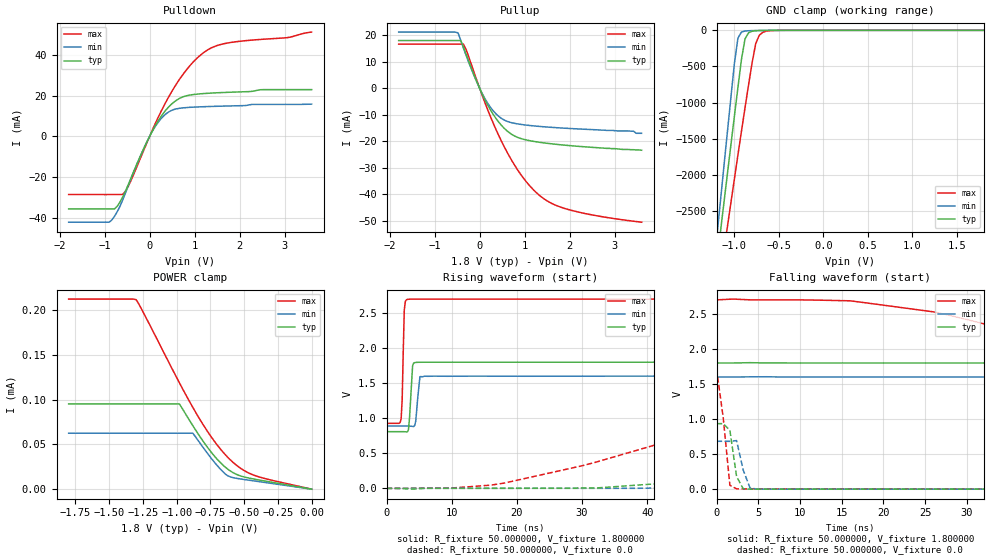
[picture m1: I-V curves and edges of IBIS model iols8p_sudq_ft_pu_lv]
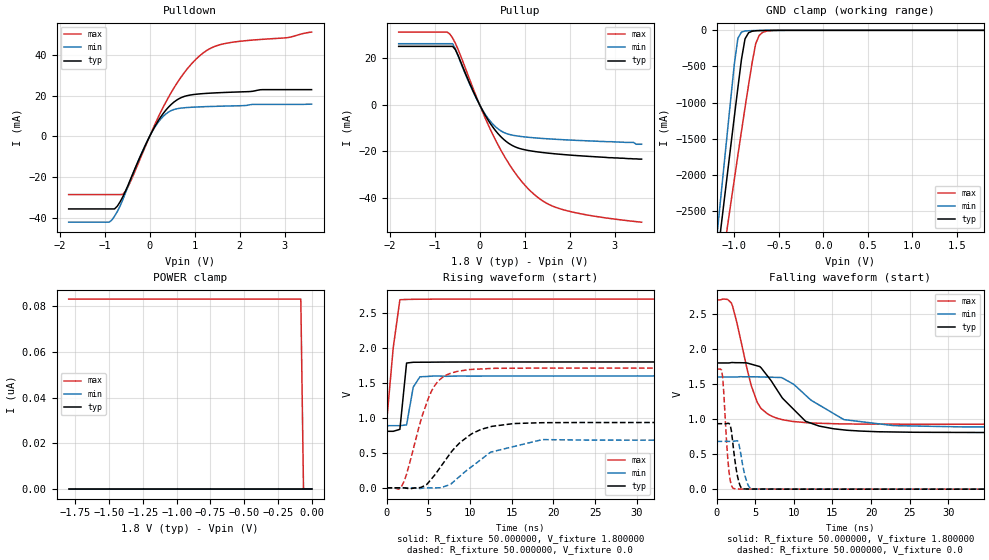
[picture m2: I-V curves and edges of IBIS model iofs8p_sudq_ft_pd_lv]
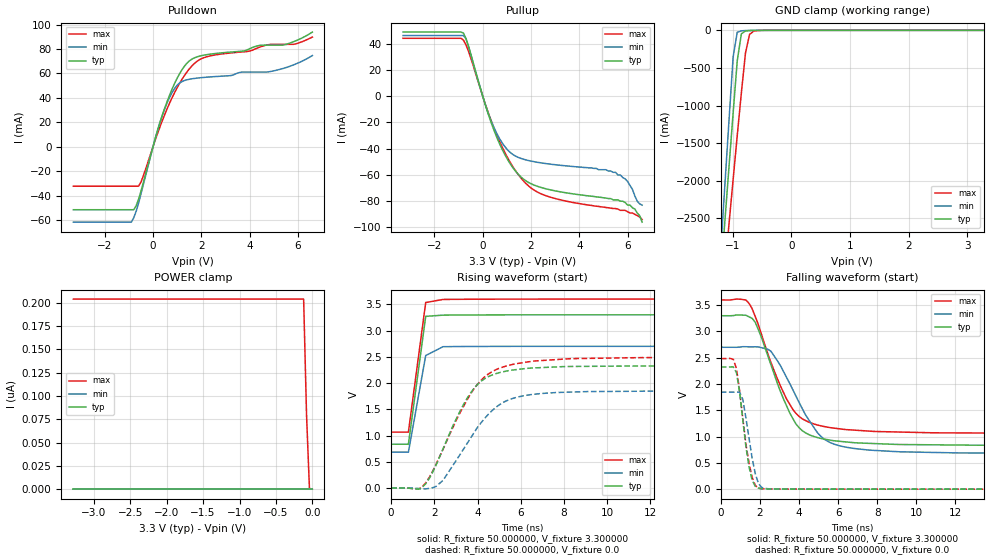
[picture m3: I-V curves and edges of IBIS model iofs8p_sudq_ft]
|   IBIS file stm32l412_422_ufqfpn32.ibs
[IBIS ver]   4.2
[File name]   stm32l412_422_ufqfpn32.ibs
[File Rev]   1.0
[Date]   08-10-2018
[Source]   Data Created at STMicroelectronics
[Notes]   File originated from ELDO simulations.
[Disclaimer]  This information is for modeling purpose only and is
   not guaranteed.
   The information is subject to change without notice.
[Copyright]   Copyright 2018 STMicroelectronics Inc.
|   Component stm32l412_422_ufqfpn32
[Component] stm32l412_422_ufqfpn32
[Manufacturer] STMicroelectronics
[Package]
| variable   typ   min   max
R_pkg   0   0   0
L_pkg   0   0   0
C_pkg   0   0   0
[Pin]   signal_name   model_name   R_pin   L_pin   C_pin
1 VDD POWER
2 PC14-OSC32_IN io8prog2m25m50m120m_sudq_ft
3 PC15-OSC32_OUT io8prog2m25m50m120m_sudq_ft
4 NRST ioreset_ft_v33
5 VDDA/VREF+ POWER
6 PA0-CK_IN io8prog2m25m50m120m_sudq_ft
7 PA1 io8prog2m25m50m120m_sudq_ft
8 PA2 io8prog2m25m50m120m_sudq_ft
9 PA3 io8prog2m25m50m120m_sudq_ft
10 PA4 io8prog2m25m50m120m_sudq_ft
11 PA5 io8prog2m25m50m120m_sudq_ft
12 PA6 io8prog2m25m50m120m_sudq_ft
13 PA7 io8prog2m25m50m120m_sudq_i2c_ft
14 PB0 io8prog2m25m50m120m_sudq_ft
15 PB1 io8prog2m25m50m120m_sudq_ft
16 VSS GND
17 VDD POWER
18 PA8 isudqf_ft_v33
19 PA9 io8prog2m25m50m120m_sudq_i2c_ft
20 PA10 io8prog2m25m50m120m_sudq_i2c_ft
21 PA11 io8usblsfs_otg2
22 PA12 io8usblsfs_otg2
23 PA13 io8prog2m25m50m120m_sudq_ft
24 PA14 io8prog2m25m50m120m_sudq_ft
25 PA15 io8prog2m25m50m120m_sudq_ft
26 PB3 io8prog2m25m50m120m_sudq_ft
27 PB4 io8prog2m25m50m120m_sudq_i2c_ft
28 PB5 io8prog2m25m50m120m_sudq_ft
29 PB6 io8prog2m25m50m120m_sudq_i2c_ft
30 PB7 io8prog2m25m50m120m_sudq_i2c_ft
31 PH3-BOOT0 io8prog2m25m50m120m_sudq_ft
32 VSS GND
[Model Selector] io8prog2m25m50m120m_sudq_ft
iols8p_sudq_ft_pd_lv  "IO low speed, PD=40kOhm - 1P8V"
iols8p_sudq_ft_pu_lv  "IO low speed, PU=40kOhm - 1P8V"
iols8p_sudq_ft_lv  "IO low speed - 1P8V"
iols8p_sudq_ft_pd  "IO low speed, PD=40kOhm - 3P3V"
iols8p_sudq_ft_pu  "IO low speed, PU=40kOhm - 3P3V"
iols8p_sudq_ft  "IO low speed - 3P3V"
iofs8p_sudq_ft_pd_lv  "IO full speed, PD=40kOhm - 1P8V"
iofs8p_sudq_ft_pu_lv  "IO full speed, PU=40kOhm - 1P8V"
iofs8p_sudq_ft_lv  "IO full speed - 1P8V"
iofs8p_sudq_ft_pd  "IO full speed, PD=40kOhm - 3P3V"
iofs8p_sudq_ft_pu  "IO full speed, PU=40kOhm - 3P3V"
iofs8p_sudq_ft  "IO full speed - 3P3V"
ioms8p_sudq_ft_pd_lv  "IO medium speed, PD=40kOhm - 1P8V"
ioms8p_sudq_ft_pu_lv  "IO medium speed, PU=40kOhm - 1P8V"
ioms8p_sudq_ft_lv  "IO medium speed - 1P8V"
ioms8p_sudq_ft_pd  "IO medium speed, PD=40kOhm - 3P3V"
ioms8p_sudq_ft_pu  "IO medium speed, PU=40kOhm - 3P3V"
ioms8p_sudq_ft  "IO medium speed - 3P3V"
iohs8p_sudq_ft_pd_lv  "IO high speed, PD=40kOhm - 1P8V"
iohs8p_sudq_ft_pu_lv  "IO high speed, PU=40kOhm - 1P8V"
iohs8p_sudq_ft_lv  "IO high speed - 1P8V"
iohs8p_sudq_ft_pd  "IO high speed, PD=40kOhm - 3P3V"
iohs8p_sudq_ft_pu  "IO high speed, PU=40kOhm - 3P3V"
iohs8p_sudq_ft  "IO high speed - 3P3V"
[Model Selector] io8prog2m25m50m120m_sudq_i2c_ft
io8prog_1v8_i2c_pd  "5V Tol GPIO 1.8V range i2c functionality with pull down"
io8prog_1v8_i2c_pu  "5V Tol GPIO 1.8V range i2c functionality with pull up"
io8prog_1v8_i2c  "5V Tol GPIO 1.8V range i2c functionality"
io8prog_3v3_i2c_pd  "5V Tol GPIO 3.3V range i2c functionality with pull down"
io8prog_3v3_i2c_pu  "5V Tol GPIO 3.3V range i2c functionality with pull up"
io8prog_3v3_i2c  "5V Tol GPIO 3.3V range i2c functionality"
io8ls_1v8_pd  "5V Tol GPIO 1.8V range with pd io low speed"
io8ls_1v8_pu  "5V Tol GPIO 1.8V range with pu io low speed"
io8ls_1v8  "5V Tol GPIO 1.8V range io low speed"
io8ls_3v3_pd  "5V Tol GPIO 3.3V range with pd io low speed"
io8ls_3v3_pu  "5V Tol GPIO 3.3V range with pu io low speed"
io8ls_3v3  "5V Tol GPIO 3.3V range io low speed"
io8fs_1v8_pd  "5V Tol GPIO 1.8V range with pd io full speed"
io8fs_1v8_pu  "5V Tol GPIO 1.8V range with pu io full speed"
io8fs_1v8  "5V Tol GPIO 1.8V range io full speed"
io8fs_3v3_pd  "5V Tol GPIO 3.3V range with pd io full speed"
io8fs_3v3_pu  "5V Tol GPIO 3.3V range with pu io full speed"
io8fs_3v3  "5V Tol GPIO 3.3V range io full speed"
io8ms_1v8_pd  "5V Tol GPIO 1.8V range with pd io medium speed"
io8ms_1v8_pu  "5V Tol GPIO 1.8V range with pu io medium speed"
io8ms_1v8  "5V Tol GPIO 1.8V range io medium speed"
io8ms_3v3_pd  "5V Tol GPIO 3.3V range with pd io medium speed"
io8ms_3v3_pu  "5V Tol GPIO 3.3V range with pu io medium speed"
io8ms_3v3  "5V Tol GPIO 3.3V range io medium speed"
io8hs_1v8_pd  "5V Tol GPIO 1.8V range with pd io high speed"
io8hs_1v8_pu  "5V Tol GPIO 1.8V range with pu io high speed"
io8hs_1v8  "5V Tol GPIO 1.8V range io high speed"
io8hs_3v3_pd  "5V Tol GPIO 3.3V range with pd io high speed"
io8hs_3v3_pu  "5V Tol GPIO 3.3V range with pu io high speed"
io8hs_3v3  "5V Tol GPIO 3.3V range io high speed"
[Model Selector] io8usblsfs_otg2
usb_ls_pd  "USB Low Speed mode - Pull Down"
usb_ls_pu2  "USB Low Speed mode - Pull up 2"
usb_ls_pu  "USB Low Speed mode - Pull up"
usb_fs  "USB Low Speed mode"
usb_fs_pd  "USB Full Speed mode - Pull Down"
usb_fs_pu2  "USB Full Speed mode - Pull up 2"
usb_fs_pu  "USB Full Speed mode - Pull up"
[Model Selector] ioreset_ft_v33
ioreset_1v2_pu  "RESET 1.2V range with PU"
ioreset_1v2  "RESET 1.2V range"
ioreset_1v8_pu  "RESET 1.8V range with PU"
ioreset_1v8  "RESET 1.8V range"
ioreset_3v3_pu  "RESET 3.3V range with PU"
ioreset_3v3  "RESET 3.3V range"
[Model Selector] isudqf_ft_v33
in_ft_v33_pd  "GP Input. 5V tolerant. 3.3V range with pull down"
in_ft_v33_pu  "GP Input. 5V tolerant. 3.3V range with pull up"
in_ft_v33  "GP Input. 5V tolerant. 3.3V range"
| Models and submodels in the file (70): iols8p_sudq_ft_pd_lv (I/O), iols8p_sudq_ft_pu_lv (I/O), iols8p_sudq_ft_lv (I/O), iols8p_sudq_ft_pd (I/O), iols8p_sudq_ft_pu (I/O), iols8p_sudq_ft (I/O), iofs8p_sudq_ft_pd_lv (I/O), iofs8p_sudq_ft_pu_lv (I/O), iofs8p_sudq_ft_lv (I/O), iofs8p_sudq_ft_pd (I/O), iofs8p_sudq_ft_pu (I/O), iofs8p_sudq_ft (I/O), ioms8p_sudq_ft_pd_lv (I/O), ioms8p_sudq_ft_pu_lv (I/O), ioms8p_sudq_ft_lv (I/O), ioms8p_sudq_ft_pd (I/O), ioms8p_sudq_ft_pu (I/O), ioms8p_sudq_ft (I/O), iohs8p_sudq_ft_pd_lv (I/O), iohs8p_sudq_ft_pu_lv (I/O), iohs8p_sudq_ft_lv (I/O), iohs8p_sudq_ft_pd (I/O), iohs8p_sudq_ft_pu (I/O), iohs8p_sudq_ft (I/O), io8prog_1v8_i2c_pd (I/O), io8prog_1v8_i2c_pu (I/O), io8prog_1v8_i2c (I/O), io8prog_3v3_i2c_pd (I/O), io8prog_3v3_i2c_pu (I/O), io8prog_3v3_i2c (I/O), io8ls_1v8_pd (I/O), io8ls_1v8_pu (I/O), io8ls_1v8 (I/O), io8ls_3v3_pd (I/O), io8ls_3v3_pu (I/O), io8ls_3v3 (I/O), io8fs_1v8_pd (I/O), io8fs_1v8_pu (I/O), io8fs_1v8 (I/O), io8fs_3v3_pd (I/O), io8fs_3v3_pu (I/O), io8fs_3v3 (I/O), io8ms_1v8_pd (I/O), io8ms_1v8_pu (I/O), io8ms_1v8 (I/O), io8ms_3v3_pd (I/O), io8ms_3v3_pu (I/O), io8ms_3v3 (I/O), io8hs_1v8_pd (I/O), io8hs_1v8_pu (I/O), io8hs_1v8 (I/O), io8hs_3v3_pd (I/O), io8hs_3v3_pu (I/O), io8hs_3v3 (I/O), usb_ls_pd (I/O), usb_ls_pu2 (I/O), usb_ls_pu (I/O), usb_fs (I/O), usb_fs_pd (I/O), usb_fs_pu2 (I/O), usb_fs_pu (I/O), ioreset_1v2_pu (I/O_open_drain), ioreset_1v2 (I/O_open_drain), ioreset_1v8_pu (I/O_open_drain), ioreset_1v8 (I/O_open_drain), ioreset_3v3_pu (I/O_open_drain), ioreset_3v3 (I/O_open_drain), in_ft_v33_pd (Input), in_ft_v33_pu (Input), in_ft_v33 (Input)
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|   Model iols8p_sudq_ft_pu_lv
[Model]  iols8p_sudq_ft_pu_lv
Model_type I/O
Polarity   Non-Inverting
Enable   Active-Low
Vinl =   0.540000V
Vinh =   1.260000V
Vmeas =  0.900000V
Cref =   50.000000pF
Rref =   100.000000M
Vref =   0.0V
C_comp   1.984800pF   1.899400pF   2.077500pF
[Temperature Range]   25.000000   -40.000000   0.125000k
[Pullup Reference]   1.800000V   1.600000V   2.700000V
[Pulldown Reference]   0.0V   0.0V   0.0V
[POWER Clamp Reference]   1.800000V   1.600000V   2.700000V
[GND Clamp Reference]   0.0V   0.0V   0.0V
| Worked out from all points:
|   slope of the pulldown table from 0 to 0.27 V, typ, clamps not added: 26.4 ohm
|   slope of the pullup table from 0 to 0.27 V, typ, clamps not added: 30.1 ohm
|   GND clamp passes 1 mA (typ) near -0.61 V on its own axis
|   rising waveform, R_fixture 50.000000, V_fixture 1.800000: 20-80 % time 379ps typ, 423ps min, 265ps max; typ from 0.81 V to 1.8 V
|   rising waveform, R_fixture 50.000000, V_fixture 0.0: 20-80 % time 68.6ns typ, 74.3ns min, 45.2ns max; typ from 0.001 V to 0.935 V
|   falling waveform, R_fixture 50.000000, V_fixture 1.800000: 20-80 % time 72.7ns typ, 95.3ns min, 37.6ns max; typ from 1.8 V to 0.81 V
|   falling waveform, R_fixture 50.000000, V_fixture 0.0: 20-80 % time 683ps typ, 950ps min, 966ps max; typ from 0.935 V to 0.001 V
[Pulldown]
|Voltage   I(typ)   I(min)   I(max)
-1.8V     -35.64mA   -42.15mA   -28.59mA
-900mV    -35.64mA   -42.15mA   -28.59mA
-780mV    -35.64mA   -39.2mA    -28.59mA
-600mV    -29.83mA   -31.3mA    -28.52mA
-420mV    -20.8mA    -21.07mA   -21.98mA
60mV      2.604mA    2.459mA    3.062mA
240mV     9.303mA    8.31mA     11.61mA
480mV     15.67mA    12.64mA    21.52mA
720mV     19.18mA    13.9mA     29.74mA
960mV     20.46mA    14.3mA     36.27mA
1.44V     21.29mA    14.7mA     44.06mA
3.6V      22.91mA    15.79mA    51.15mA
[Pullup]
|Voltage   I(typ)   I(min)   I(max)
-1.8V     18.05mA    21.25mA    16.71mA
-540mV    18.05mA    21.25mA    16.71mA
-480mV    18.05mA    20.96mA    16.71mA
-420mV    18.05mA    18.11mA    16.71mA
-360mV    15.57mA    15.21mA    16.71mA
60mV      -2.268mA   -2.095mA   -2.822mA
360mV     -11.31mA   -9.605mA   -15.45mA
600mV     -15.96mA   -12.42mA   -23.82mA
840mV     -18.52mA   -13.44mA   -30.72mA
1.38V     -20.52mA   -14.48mA   -41.14mA
2.1V      -21.8mA    -15.27mA   -46.39mA
3.6V      -23.4mA    -17mA      -50.6mA
[GND_clamp]
|Voltage   I(typ)   I(min)   I(max)
-1.8V     -9.477A    -9.805A    -9.016A
-1.2V     -3.243A    -2.9A      -3.759A
-1.16V    -2.83A     -2.409A    -3.417A
-1.12V    -2.418A    -1.919A    -3.076A
-1.08V    -2.008A    -1.431A    -2.736A
-1V       -1.194A    -466mA     -2.061A
-960mV    -792.8mA   -108.7mA   -1.727A
-920mV    -402mA     -24.35mA   -1.396A
-880mV    -117.8mA   -9.188mA   -1.071A
-760mV    -5.896mA   -2.88mA    -183.8mA
-680mV    -2.395mA   -1.099mA   -26.61mA
1.8V      0A         0A         0A
[POWER_clamp]
|Voltage   I(typ)   I(min)   I(max)
-1.8V     95.27uA    62.52uA    212.4uA
-1.3V     95.27uA    62.52uA    211.7uA
-1.24V    95.27uA    62.52uA    195.4uA
-980mV    95.27uA    62.52uA    119uA
-880mV    70.93uA    62.52uA    91.35uA
-740mV    40.61uA    33.79uA    57.65uA
-640mV    24.64uA    16.99uA    38.63uA
-600mV    20.11uA    13.6uA     32.43uA
-540mV    15.51uA    11.72uA    24.8uA
-440mV    11.66uA    9.491uA    16.35uA
-340mV    8.934uA    7.326uA    11.65uA
0V        0A         0A         0A
[Ramp]
| variable   typ   min   max
dV/dt_r  0.56095/68.67975n   0.40953/74.27229n   1.02717/44.98407n
dV/dt_f  0.59405/72.60739n   0.42589/95.26095n   1.06315/37.53994n
R_load = 50.000000
[Rising Waveform]
R_fixture= 50.000000
V_fixture= 1.800000
V_fixture_min= 1.600000
V_fixture_max= 2.700000
|time   V(typ)   V(min)   V(max)
0s        809.8mV    890.3mV    928.1mV
2.242ns   809.8mV    890.3mV    993.3mV
2.402ns   809.8mV    890.3mV    1.271V
2.723ns   809mV      890.3mV    2.541V
3.203ns   807.2mV    890.4mV    2.695V
4.004ns   1.748V     884.3mV    2.699V
4.484ns   1.796V     960.8mV    2.699V
5.125ns   1.799V     1.593V     2.7V
5.766ns   1.8V       1.6V       2.7V
79.76ns   1.8V       1.6V       2.7V
[Rising Waveform]
R_fixture= 50.000000
V_fixture= 0.0
V_fixture_min= 0.0
V_fixture_max= 0.0
|time   V(typ)   V(min)   V(max)
0s        727.8uV    547uV      1.255mV
18.02ns   2.02mV     1.674mV    75.77mV
32.03ns   6.18mV     1.697mV    372.5mV
62.06ns   209.3mV    74.21mV    1.129V
80.08ns   398.5mV    158mV      1.429V
104.1ns   610.5mV    330.5mV    1.601V
126.1ns   738.8mV    448.3mV    1.661V
174.2ns   885.5mV    630.8mV    1.704V
248.2ns   930.2mV    683.3mV    1.714V
997ns     935.3mV    683.1mV    1.714V
[Falling Waveform]
R_fixture= 50.000000
V_fixture= 1.800000
V_fixture_min= 1.600000
V_fixture_max= 2.700000
|time   V(typ)   V(min)   V(max)
0s        1.8V       1.6V       2.7V
16.02ns   1.8V       1.6V       2.687V
26.03ns   1.8V       1.6V       2.529V
64.06ns   1.737V     1.6V       1.391V
76.08ns   1.647V     1.6V       1.186V
120.1ns   1.255V     1.504V     992.1mV
160.2ns   977.5mV    1.286V     953.6mV
200.2ns   882.5mV    1.065V     936.8mV
314.3ns   819.5mV    908.5mV    928.2mV
997ns     809.8mV    890.3mV    928.1mV
[Falling Waveform]
R_fixture= 50.000000
V_fixture= 0.0
V_fixture_min= 0.0
V_fixture_max= 0.0
|time   V(typ)   V(min)   V(max)
0s        935.3mV    683.1mV    1.714V
800.8ps   935.3mV    683.1mV    1.021V
1.602ns   838.7mV    682.5mV    55.24mV
2.402ns   181.5mV    693.4mV    5.324mV
3.203ns   4.882mV    272.1mV    4.519mV
4.004ns   1.823mV    19.9mV     4.432mV
4.805ns   1.435mV    1.988mV    4.408mV
79.28ns   727.8uV    547uV      1.255mV
|   Model iofs8p_sudq_ft_pd_lv
[Model]  iofs8p_sudq_ft_pd_lv
Model_type I/O
Polarity   Non-Inverting
Enable   Active-Low
Vinl =   0.540000V
Vinh =   1.260000V
Vmeas =  0.900000V
Cref =   40.000000pF
Rref =   100.000000M
Vref =   0.0V
C_comp   1.984800pF   1.899400pF   2.077500pF
[Temperature Range]   25.000000   -40.000000   0.125000k
[Pullup Reference]   1.800000V   1.600000V   2.700000V
[Pulldown Reference]   0.0V   0.0V   0.0V
[POWER Clamp Reference]   1.800000V   1.600000V   2.700000V
[GND Clamp Reference]   0.0V   0.0V   0.0V
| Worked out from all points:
|   slope of the pulldown table from 0 to 0.27 V, typ, clamps not added: 26.4 ohm
|   slope of the pullup table from 0 to 0.27 V, typ, clamps not added: 30.1 ohm
|   GND clamp passes 1 mA (typ) near -0.60 V on its own axis
|   rising waveform, R_fixture 50.000000, V_fixture 1.800000: 20-80 % time 503ps typ, 698ps min, 936ps max; typ from 0.808 V to 1.8 V
|   rising waveform, R_fixture 50.000000, V_fixture 0.0: 20-80 % time 4.11ns typ, 5.19ns min, 2.6ns max; typ from 0 V to 0.933 V
|   falling waveform, R_fixture 50.000000, V_fixture 1.800000: 20-80 % time 4.49ns typ, 5.51ns min, 2.44ns max; typ from 1.8 V to 0.808 V
|   falling waveform, R_fixture 50.000000, V_fixture 0.0: 20-80 % time 694ps typ, 759ps min, 595ps max; typ from 0.933 V to 0 V
[Pulldown]
|Voltage   I(typ)   I(min)   I(max)
-1.8V     -35.64mA   -42.15mA   -28.59mA
-900mV    -35.64mA   -42.15mA   -28.59mA
-780mV    -35.64mA   -39.2mA    -28.59mA
-600mV    -29.83mA   -31.31mA   -28.52mA
-420mV    -20.8mA    -21.07mA   -21.98mA
60mV      2.604mA    2.459mA    3.062mA
240mV     9.303mA    8.31mA     11.61mA
480mV     15.67mA    12.64mA    21.52mA
720mV     19.18mA    13.91mA    29.74mA
960mV     20.46mA    14.3mA     36.27mA
1.44V     21.29mA    14.7mA     44.06mA
3.6V      22.91mA    15.79mA    51.15mA
[Pullup]
|Voltage   I(typ)   I(min)   I(max)
-1.8V     25.2mA     26.34mA    31.36mA
-660mV    25.2mA     26.34mA    30.46mA
-600mV    25.2mA     26.34mA    28.77mA
-540mV    23.79mA    24.11mA    26.53mA
-60mV     2.392mA    2.26mA     2.893mA
300mV     -9.801mA   -8.48mA    -13.12mA
480mV     -13.91mA   -11.33mA   -19.82mA
720mV     -17.48mA   -13.04mA   -27.45mA
1.26V     -20.22mA   -14.3mA    -39.41mA
1.56V     -20.91mA   -14.71mA   -43.13mA
1.98V     -21.62mA   -15.16mA   -45.85mA
3.6V      -23.4mA    -17mA      -50.6mA
[GND_clamp]
|Voltage   I(typ)   I(min)   I(max)
-1.8V     -9.477A    -9.805A    -9.016A
-1.2V     -3.243A    -2.9A      -3.759A
-1.16V    -2.83A     -2.409A    -3.417A
-1.12V    -2.418A    -1.919A    -3.076A
-1.08V    -2.008A    -1.431A    -2.736A
-1V       -1.194A    -466mA     -2.061A
-960mV    -792.8mA   -108.7mA   -1.727A
-920mV    -402mA     -24.36mA   -1.396A
-880mV    -117.8mA   -9.2mA     -1.071A
-760mV    -5.909mA   -2.892mA   -183.8mA
-680mV    -2.407mA   -1.111mA   -26.63mA
1.8V      47.61uA    33.87uA    60.56uA
[POWER_clamp]
|Voltage   I(typ)   I(min)   I(max)
-1.8V     0A         0A         83.17nA
-80mV     0A         0A         83.17nA
-60mV     0A         0A         0A
0V        0A         0A         0A
[Ramp]
| variable   typ   min   max
dV/dt_r  0.56000/4.10362n   0.40942/5.21625n   1.02672/2.59589n
dV/dt_f  0.59504/4.48853n   0.42591/5.49286n   1.06363/2.43827n
R_load = 50.000000
[Rising Waveform]
R_fixture= 50.000000
V_fixture= 1.800000
V_fixture_min= 1.600000
V_fixture_max= 2.700000
|time   V(typ)   V(min)   V(max)
0s        807.9mV    888.7mV    926.4mV
800.8ps   807.7mV    888.7mV    2V
1.602ns   836.3mV    888.7mV    2.689V
2.402ns   1.784V     899.7mV    2.693V
3.203ns   1.795V     1.44V      2.695V
4.004ns   1.796V     1.587V     2.696V
5.606ns   1.797V     1.598V     2.697V
79.28ns   1.799V     1.599V     2.699V
[Rising Waveform]
R_fixture= 50.000000
V_fixture= 0.0
V_fixture_min= 0.0
V_fixture_max= 0.0
|time   V(typ)   V(min)   V(max)
0s        959.1nV    708.8nV    1.579uV
1.441ns   16.7uV     -615.4nV   -19.31mV
2.082ns   -221.7uV   116.1nV    88.07mV
4.324ns   17.15mV    -4.67mV    1.047V
5.766ns   180.7mV    -547uV     1.459V
6.887ns   367.1mV    16.93mV    1.592V
8.649ns   628.2mV    150.9mV    1.668V
12.49ns   874.2mV    510.3mV    1.706V
18.74ns   931.2mV    689.4mV    1.712V
79.76ns   933.5mV    681.5mV    1.711V
[Falling Waveform]
R_fixture= 50.000000
V_fixture= 1.800000
V_fixture_min= 1.600000
V_fixture_max= 2.700000
|time   V(typ)   V(min)   V(max)
0s        1.799V     1.599V     2.699V
1.922ns   1.805V     1.599V     2.655V
4.484ns   1.782V     1.602V     1.48V
5.285ns   1.757V     1.601V     1.235V
8.809ns   1.267V     1.568V     984.4mV
11.53ns   967.4mV    1.339V     948.9mV
13.29ns   899.2mV    1.2V       939.8mV
16.5ns    844.5mV    991.4mV    929.4mV
22.9ns    815.3mV    906.3mV    926.9mV
79.76ns   807.9mV    888.7mV    926.4mV
[Falling Waveform]
R_fixture= 50.000000
V_fixture= 0.0
V_fixture_min= 0.0
V_fixture_max= 0.0
|time   V(typ)   V(min)   V(max)
0s        933.5mV    681.5mV    1.711V
800.8ps   933.4mV    681.5mV    1.595V
1.602ns   937.9mV    681.4mV    260.3mV
1.922ns   833.4mV    681.1mV    51.84mV
2.402ns   393.2mV    686.5mV    4.86mV
2.883ns   106.8mV    648mV      2.297mV
3.203ns   18.04mV    463.2mV    1.884mV
4.004ns   2.003mV    80.11mV    1.241mV
4.645ns   1.405mV    3.507mV    933.5uV
79.76ns   959.1nV    708.8nV    1.579uV
|   Model iofs8p_sudq_ft
[Model]  iofs8p_sudq_ft
Model_type I/O
Polarity   Non-Inverting
Enable   Active-Low
Vinl =   0.990000V
Vinh =   2.310000V
Vmeas =  1.650000V
Cref =   30.000000pF
Rref =   100.000000M
Vref =   0.0V
C_comp   2.036400pF   1.984000pF   2.082300pF
[Temperature Range]   25.000000   -40.000000   0.125000k
[Pullup Reference]   3.300000V   2.700000V   3.600000V
[Pulldown Reference]   0.0V   0.0V   0.0V
[POWER Clamp Reference]   3.300000V   2.700000V   3.600000V
[GND Clamp Reference]   0.0V   0.0V   0.0V
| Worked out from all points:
|   slope of the pulldown table from 0 to 0.495 V, typ, clamps not added: 15.4 ohm
|   slope of the pullup table from 0 to 0.495 V, typ, clamps not added: 18.1 ohm
|   GND clamp passes 1 mA (typ) near -0.60 V on its own axis
|   rising waveform, R_fixture 50.000000, V_fixture 3.300000: 20-80 % time 486ps typ, 526ps min, 494ps max; typ from 0.835 V to 3.3 V
|   rising waveform, R_fixture 50.000000, V_fixture 0.0: 20-80 % time 1.66ns typ, 1.92ns min, 1.89ns max; typ from 0 V to 2.33 V
|   falling waveform, R_fixture 50.000000, V_fixture 3.300000: 20-80 % time 1.55ns typ, 1.8ns min, 1.64ns max; typ from 3.3 V to 0.835 V
|   falling waveform, R_fixture 50.000000, V_fixture 0.0: 20-80 % time 470ps typ, 494ps min, 523ps max; typ from 2.33 V to 0 V
[Pulldown]
|Voltage   I(typ)   I(min)   I(max)
-3.3V     -51.63mA   -61.84mA   -32.32mA
-900mV    -51.63mA   -61.84mA   -32.32mA
-800mV    -51.63mA   -58.24mA   -32.32mA
-500mV    -36.51mA   -38.71mA   -28.96mA
400mV     26.66mA    26.58mA    22.18mA
800mV     47.72mA    44.74mA    40.6mA
1.1V      59.79mA    52.18mA    51.93mA
1.5V      70.22mA    55.24mA    63.66mA
2.1V      74.97mA    56.75mA    72.88mA
4.9V      83.19mA    61.75mA    83.83mA
5.9V      86.64mA    67.67mA    84.15mA
6.6V      93.9mA     74.68mA    89.84mA
[Pullup]
|Voltage   I(typ)   I(min)   I(max)
-3.3V     48.88mA    46.22mA    44.15mA
-800mV    48.12mA    46.22mA    42.77mA
-600mV    38.74mA    38.61mA    34.8mA
200mV     -11.99mA   -11.47mA   -11.05mA
600mV     -32.08mA   -29.08mA   -30.29mA
1.3V      -55.74mA   -45.02mA   -55.24mA
2V        -66.7mA    -49.43mA   -69.91mA
3.2V      -72.82mA   -52.6mA    -78.89mA
5.5V      -79mA      -58mA      -85.6mA
6V        -83mA      -65mA      -88mA
6.3V      -86mA      -76mA      -90mA
6.6V      -96mA      -83mA      -94mA
[GND_clamp]
|Voltage   I(typ)   I(min)   I(max)
-3.3V     -9.812A    -9.822A    -9.937A
-1.2V     -3.251A    -2.905A    -3.763A
-1.13V    -2.527A    -2.046A    -3.165A
-1.06V    -1.808A    -1.191A    -2.57A
-990mV    -1.097A    -352.6mA   -1.979A
-920mV    -404.2mA   -25.08mA   -1.398A
-850mV    -46.53mA   -6.503mA   -832.3mA
-780mV    -8.496mA   -3.578mA   -302.4mA
-710mV    -3.383mA   -1.716mA   -53.8mA
-640mV    -1.589mA   -553.8uA   -11.72mA
-360mV    -2.023uA   0A         -84.67uA
3.28V     0A         0A         0A
[POWER_clamp]
|Voltage   I(typ)   I(min)   I(max)
-3.28V    0A         0A         204.1nA
-120mV    0A         0A         204.1nA
-80mV     0A         0A         79.47nA
-40mV     0A         0A         0A
0V        0A         0A         0A
[Ramp]
| variable   typ   min   max
dV/dt_r  1.39476/1.65365n   1.10718/1.91179n   1.49076/1.88888n
dV/dt_f  1.47898/1.55098n   1.20995/1.79312n   1.52124/1.64197n
R_load = 50.000000
[Rising Waveform]
R_fixture= 50.000000
V_fixture= 3.300000
V_fixture_min= 2.700000
V_fixture_max= 3.600000
|time   V(typ)   V(min)   V(max)
0s        835mV      683.3mV    1.065V
800.8ps   834.5mV    682.9mV    1.065V
1.602ns   3.271V     2.523V     3.534V
2.402ns   3.294V     2.692V     3.593V
79.28ns   3.3V       2.7V       3.6V
[Rising Waveform]
R_fixture= 50.000000
V_fixture= 0.0
V_fixture_min= 0.0
V_fixture_max= 0.0
|time   V(typ)   V(min)   V(max)
0s        465.2nV    1.932uV    38.75nV
1.281ns   -21.71mV   -9.578mV   -16.11mV
1.602ns   82.37mV    -16.2mV    97.28mV
2.402ns   745.1mV    146.1mV    737.2mV
3.363ns   1.599V     748.8mV    1.563V
4.164ns   2.034V     1.243V     2.052V
5.125ns   2.21V      1.616V     2.298V
6.567ns   2.287V     1.784V     2.418V
11.69ns   2.325V     1.845V     2.485V
79.76ns   2.325V     1.845V     2.485V
[Falling Waveform]
R_fixture= 50.000000
V_fixture= 3.300000
V_fixture_min= 2.700000
V_fixture_max= 3.600000
|time   V(typ)   V(min)   V(max)
0s        3.3V       2.7V       3.6V
1.441ns   3.28V      2.709V     3.536V
1.762ns   3.176V     2.709V     3.285V
2.563ns   2.37V      2.625V     2.413V
3.363ns   1.587V     2.127V     1.716V
4.004ns   1.169V     1.652V     1.383V
5.125ns   965.4mV    1.003V     1.204V
6.406ns   898.8mV    798.9mV    1.133V
12.17ns   839.6mV    689.3mV    1.07V
79.76ns   835mV      683.3mV    1.065V
[Falling Waveform]
R_fixture= 50.000000
V_fixture= 0.0
V_fixture_min= 0.0
V_fixture_max= 0.0
|time   V(typ)   V(min)   V(max)
0s        2.325V     1.845V     2.485V
640.6ps   2.327V     1.845V     2.469V
800.8ps   2.216V     1.847V     2.293V
961ps     1.847V     1.846V     1.872V
1.121ns   1.328V     1.712V     1.362V
1.441ns   426.5mV    974.9mV    493.1mV
1.602ns   171.8mV    591.9mV    230.7mV
1.922ns   20.15mV    110.4mV    19.1mV
2.082ns   9.416mV    35.01mV    8.015mV
79.76ns   465.2nV    1.932uV    38.75nV
